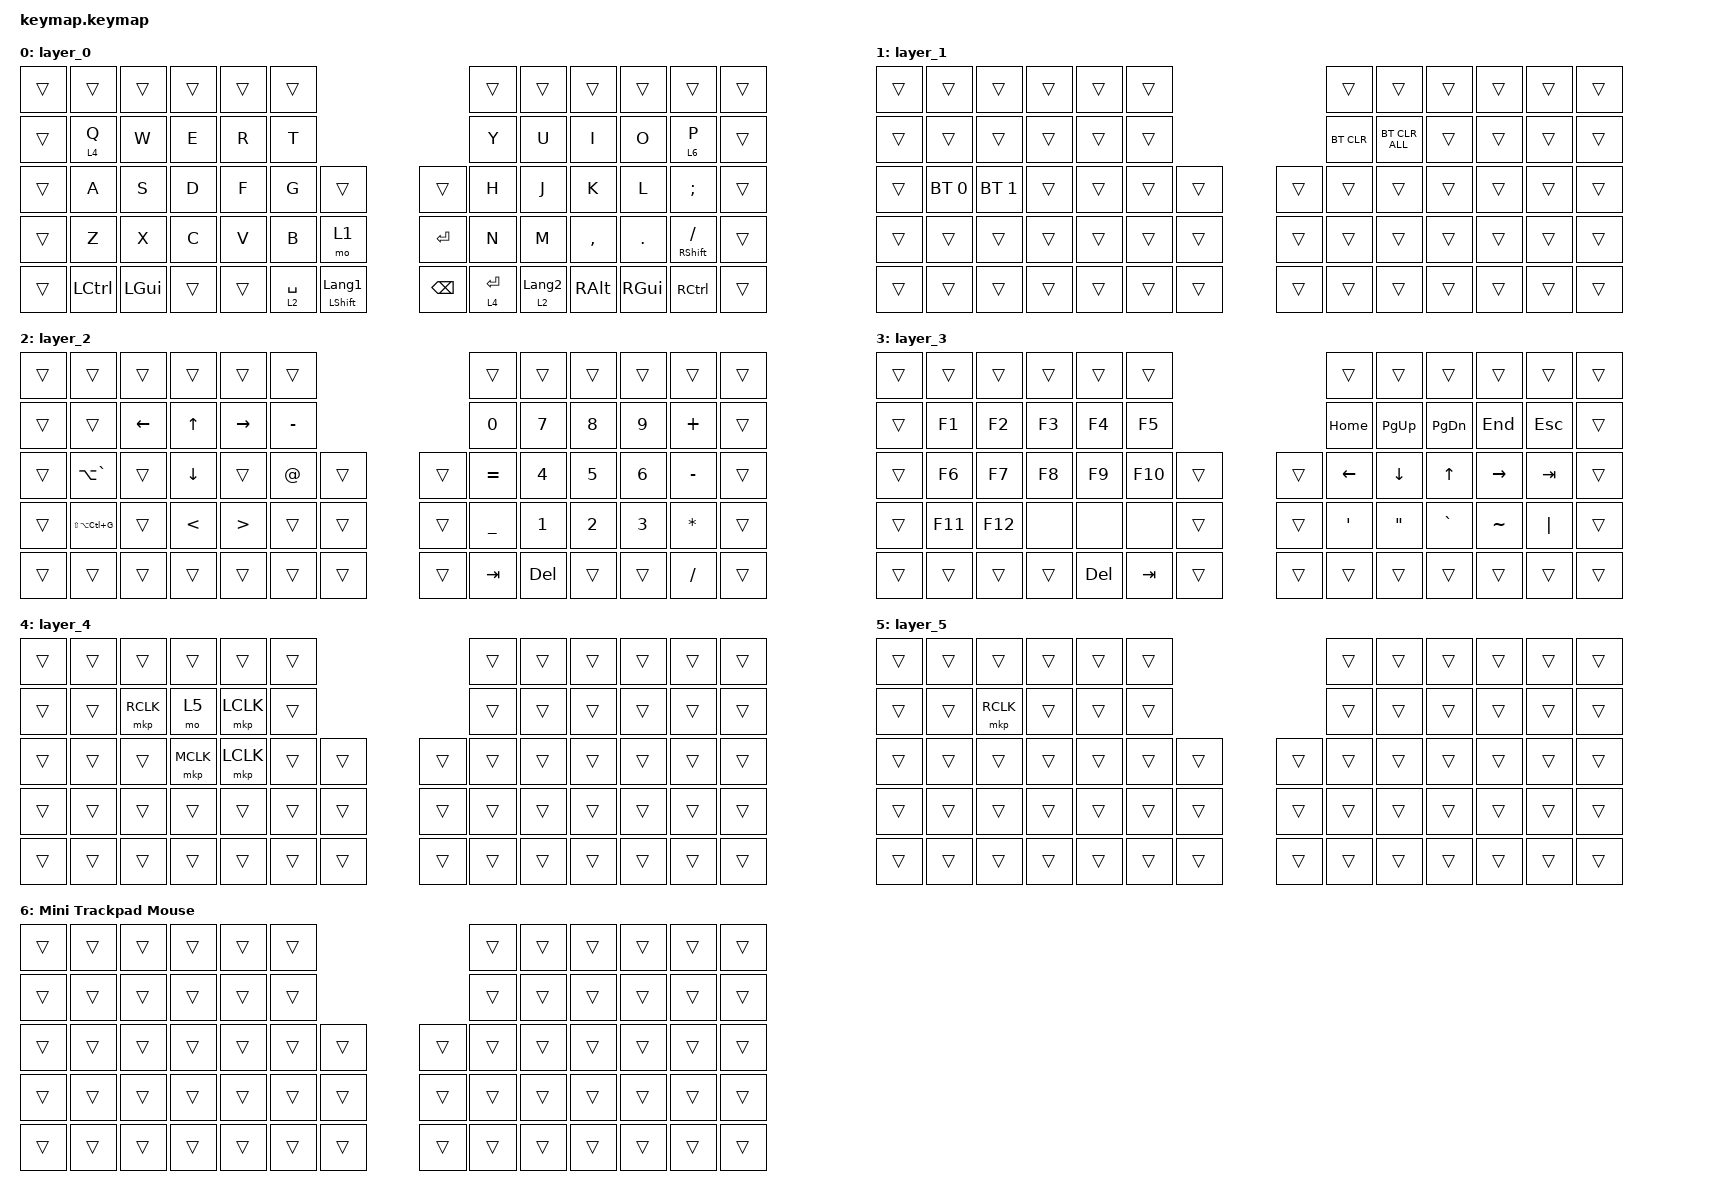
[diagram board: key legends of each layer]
#include <behaviors.dtsi>
#include <dt-bindings/zmk/bt.h>
#include <dt-bindings/zmk/keys.h>
#include <dt-bindings/zmk/pointing.h>

/ {
    keymap {
        compatible = "zmk,keymap";

        layer_0 {
            // P: tap for P, hold for the independent right mini trackpad cursor (Layer 6).

            bindings = <
&trans  &trans     &trans    &trans  &trans  &trans                                                 &trans       &trans            &trans     &trans    &trans                &trans
&trans  &lt 4 Q    &kp W     &kp E   &kp R   &kp T                                                  &kp Y        &kp U             &kp I      &kp O     &lt 6 P               &trans
&trans  &kp A      &kp S     &kp D   &kp F   &kp G        &trans                     &trans         &kp H        &kp J             &kp K      &kp L     &kp SEMI              &trans
&trans  &kp Z      &kp X     &kp C   &kp V   &kp B        &mo 1                      &kp RET        &kp N        &kp M             &kp COMMA  &kp DOT   &mt RIGHT_SHIFT FSLH  &trans
&trans  &kp LCTRL  &kp LGUI  &trans  &trans  &lt 2 SPACE  &mt LEFT_SHIFT LANGUAGE_1  &kp BACKSPACE  &lt 4 ENTER  &lt 2 LANGUAGE_2  &kp RALT   &kp RGUI  &kp RCTRL             &trans
            >;
        };

        layer_1 {
            // Hold the existing MO(1) key. A/S select Mac/Fold6; Y/U clear bonds.
            // These positions are transparent on auto-mouse layers 4 and 5.

            bindings = <
&trans  &trans        &trans        &trans  &trans  &trans                  &trans      &trans          &trans  &trans  &trans  &trans
&trans  &trans        &trans        &trans  &trans  &trans                  &bt BT_CLR  &bt BT_CLR_ALL  &trans  &trans  &trans  &trans
&trans  &bt BT_SEL 0  &bt BT_SEL 1  &trans  &trans  &trans  &trans  &trans  &trans      &trans          &trans  &trans  &trans  &trans
&trans  &trans        &trans        &trans  &trans  &trans  &trans  &trans  &trans      &trans          &trans  &trans  &trans  &trans
&trans  &trans        &trans        &trans  &trans  &trans  &trans  &trans  &trans      &trans          &trans  &trans  &trans  &trans
            >;
        };

        layer_2 {
            bindings = <
&trans  &trans             &trans          &trans          &trans            &trans                     &trans     &trans        &trans        &trans        &trans        &trans
&trans  &trans             &kp LEFT_ARROW  &kp UP_ARROW    &kp RIGHT         &kp MINUS                  &kp N0     &kp N7        &kp N8        &kp N9        &kp PLUS      &trans
&trans  &kp LA(GRAVE)      &trans          &kp DOWN_ARROW  &trans            &kp AT     &trans  &trans  &kp EQUAL  &kp NUMBER_4  &kp N5        &kp NUMBER_6  &kp MINUS     &trans
&trans  &kp LS(LA(LC(G)))  &trans          &kp LESS_THAN   &kp GREATER_THAN  &trans     &trans  &trans  &kp UNDER  &kp NUMBER_1  &kp NUMBER_2  &kp NUMBER_3  &kp ASTERISK  &trans
&trans  &trans             &trans          &trans          &trans            &trans     &trans  &trans  &kp TAB    &kp DEL       &trans        &trans        &kp SLASH     &trans
            >;
        };

        layer_3 {
            bindings = <
&trans  &trans   &trans   &trans  &trans      &trans                   &trans            &trans     &trans         &trans     &trans      &trans
&trans  &kp F1   &kp F2   &kp F3  &kp F4      &kp F5                   &kp HOME          &kp PG_UP  &kp PAGE_DOWN  &kp END    &kp ESCAPE  &trans
&trans  &kp F6   &kp F7   &kp F8  &kp F9      &kp F10  &trans  &trans  &kp LEFT          &kp DOWN   &kp UP_ARROW   &kp RIGHT  &kp TAB     &trans
&trans  &kp F11  &kp F12  &none   &none       &none    &trans  &trans  &kp SINGLE_QUOTE  &kp DQT    &kp GRAVE      &kp TILDE  &kp PIPE    &trans
&trans  &trans   &trans   &trans  &kp DELETE  &kp TAB  &trans  &trans  &trans            &trans     &trans         &trans     &trans      &trans
            >;
        };

        layer_4 {
            bindings = <
&trans  &trans  &trans     &trans     &trans     &trans                  &trans  &trans  &trans  &trans  &trans  &trans
&trans  &trans  &mkp RCLK  &mo 5      &mkp LCLK  &trans                  &trans  &trans  &trans  &trans  &trans  &trans
&trans  &trans  &trans     &mkp MCLK  &mkp LCLK  &trans  &trans  &trans  &trans  &trans  &trans  &trans  &trans  &trans
&trans  &trans  &trans     &trans     &trans     &trans  &trans  &trans  &trans  &trans  &trans  &trans  &trans  &trans
&trans  &trans  &trans     &trans     &trans     &trans  &trans  &trans  &trans  &trans  &trans  &trans  &trans  &trans
            >;
        };

        layer_5 {
            bindings = <
&trans  &trans  &trans     &trans  &trans  &trans                  &trans  &trans  &trans  &trans  &trans  &trans
&trans  &trans  &mkp RCLK  &trans  &trans  &trans                  &trans  &trans  &trans  &trans  &trans  &trans
&trans  &trans  &trans     &trans  &trans  &trans  &trans  &trans  &trans  &trans  &trans  &trans  &trans  &trans
&trans  &trans  &trans     &trans  &trans  &trans  &trans  &trans  &trans  &trans  &trans  &trans  &trans  &trans
&trans  &trans  &trans     &trans  &trans  &trans  &trans  &trans  &trans  &trans  &trans  &trans  &trans  &trans
            >;
        };

        layer_6 {
            display-name = "Mini Trackpad Mouse";
            bindings = <
&trans  &trans  &trans  &trans  &trans  &trans                  &trans  &trans  &trans  &trans  &trans  &trans
&trans  &trans  &trans  &trans  &trans  &trans                  &trans  &trans  &trans  &trans  &trans  &trans
&trans  &trans  &trans  &trans  &trans  &trans  &trans  &trans  &trans  &trans  &trans  &trans  &trans  &trans
&trans  &trans  &trans  &trans  &trans  &trans  &trans  &trans  &trans  &trans  &trans  &trans  &trans  &trans
&trans  &trans  &trans  &trans  &trans  &trans  &trans  &trans  &trans  &trans  &trans  &trans  &trans  &trans
            >;
        };
    };
};
